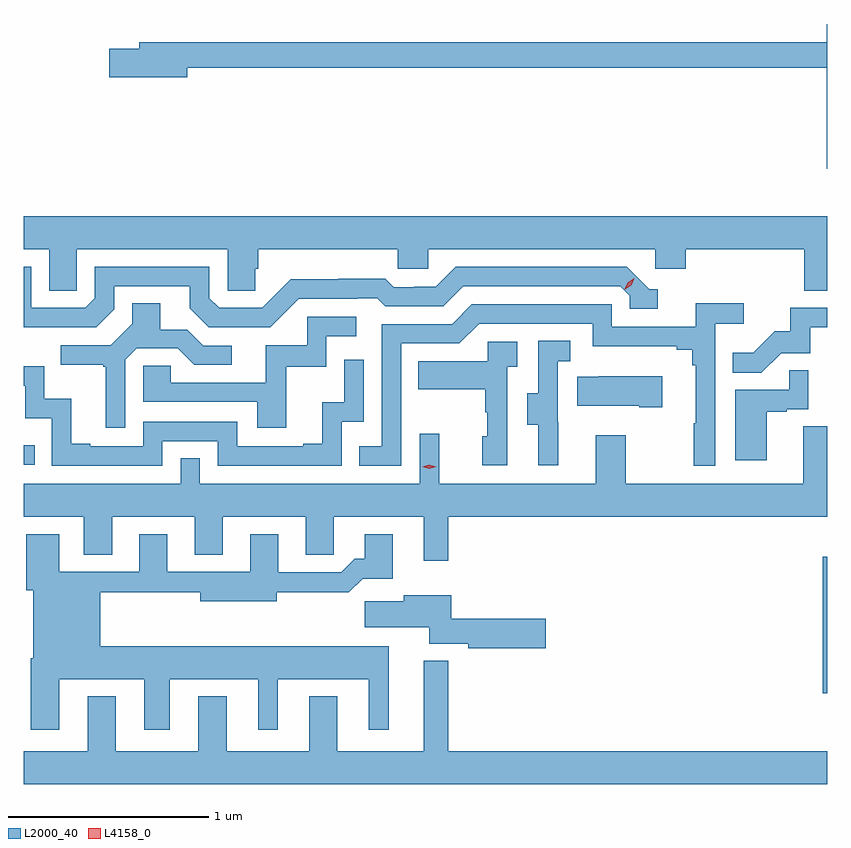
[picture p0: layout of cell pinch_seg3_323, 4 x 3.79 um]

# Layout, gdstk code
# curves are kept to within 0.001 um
import gdstk
lib = gdstk.Library(unit=1e-6, precision=1e-09)
def R(c, l, rs):  # rectangles x0, y0, x1, y1
    for r in rs: c.add(gdstk.rectangle(r[:2], r[2:], *l))
def P(c, l, *ps):  # polygons
    for p in ps: c.add(gdstk.Polygon(p, *l))
L2000_40 = (2000, 40)
L4158_0 = (4158, 0)

pinch_seg3_323 = lib.new_cell('pinch_seg3_323')
R(pinch_seg3_323, L2000_40, [(998.059,714.688,998.08,715.369), (994.08,715.827,994.133,715.924)])
P(pinch_seg3_323, L2000_40, [(998.08,718.021),(998.078,718.021),(998.078,717.931),(994.655,717.931),(994.655,717.897),(994.506,717.897),(994.506,717.755),(994.894,717.755),(994.894,717.802),(998.078,717.802),(998.078,717.3),(998.08,717.3)],
  [(994.344,716.9),(995.094,716.9),(995.094,716.692),(995.231,716.692),(995.231,716.802),(995.246,716.802),(995.246,716.9),(995.943,716.9),(995.943,716.802),(996.093,716.802),(996.093,716.9),(997.224,716.9),(997.224,716.802),(997.376,716.802),(997.376,716.9),(997.967,716.9),(997.967,716.692),(998.08,716.692),(998.08,717.064),(994.08,717.064),(994.08,716.9),(994.205,716.9),(994.205,716.692),(994.344,716.692)],
  [(994.224,716.511),(994.44,716.511),(994.53,716.601),(994.53,716.715),(994.907,716.715),(994.907,716.605),(995.001,716.511),(995.307,716.511),(995.448,716.652),(995.741,716.652),(995.741,716.655),(995.84,716.655),(995.879,716.616),(996.168,716.616),(996.267,716.715),(997.05,716.715),(997.098,716.667),(997.098,716.604),(997.237,716.604),(997.237,716.7),(997.194,716.7),(997.083,716.811),(996.23,716.811),(996.131,716.712),(996.024,716.712),(996.024,716.709),(995.921,716.709),(995.879,716.752),(995.646,716.752),(995.646,716.749),(995.41,716.749),(995.268,716.607),(995.052,716.607),(995.004,716.655),(995.004,716.811),(994.434,716.811),(994.434,716.655),(994.386,716.607),(994.116,716.607),(994.116,716.811),(994.08,716.811),(994.08,716.51)],
  [(994.584,716.349),(994.641,716.406),(994.847,716.406),(994.928,716.325),(995.116,716.325),(995.116,716.418),(994.974,716.418),(994.894,716.498),(994.759,716.498),(994.759,716.63),(994.619,716.63),(994.619,716.528),(994.512,716.421),(994.263,716.421),(994.263,716.324),(994.476,716.324),(994.476,716.313),(994.487,716.313),(994.487,716.01),(994.584,716.01)],
  [(995.958,716.43),(996.249,716.43),(996.348,716.529),(996.912,716.529),(996.912,716.417),(997.331,716.417),(997.331,716.398),(997.408,716.398),(997.408,716.321),(997.427,716.321),(997.427,716.033),(997.416,716.033),(997.416,715.821),(997.524,715.821),(997.524,716.528),(997.666,716.528),(997.666,716.63),(997.427,716.63),(997.427,716.514),(997.008,716.514),(997.008,716.625),(996.311,716.625),(996.212,716.526),(995.862,716.526),(995.862,715.917),(995.749,715.917),(995.749,715.821),(995.958,715.821)],
  [(997.851,716.382),(997.995,716.382),(997.995,716.511),(998.08,716.511),(998.08,716.607),(997.897,716.607),(997.897,716.49),(997.82,716.49),(997.713,716.383),(997.609,716.383),(997.609,716.284),(997.753,716.284)],
  [(995.387,716.313),(995.586,716.313),(995.586,716.466),(995.734,716.466),(995.734,716.562),(995.49,716.562),(995.49,716.421),(995.285,716.421),(995.285,716.235),(994.811,716.235),(994.811,716.319),(994.674,716.319),(994.674,716.139),(995.243,716.139),(995.243,716.01),(995.387,716.01)],
  [(996.74,716.037),(996.738,716.037),(996.738,716.341),(996.802,716.341),(996.802,716.444),(996.642,716.444),(996.642,716.181),(996.587,716.181),(996.587,716.026),(996.641,716.026),(996.641,715.824),(996.74,715.824)],
  [(996.486,716.315),(996.538,716.315),(996.538,716.439),(996.39,716.439),(996.39,716.341),(996.043,716.341),(996.043,716.201),(996.378,716.201),(996.378,716.087),(996.388,716.087),(996.388,715.968),(996.362,715.968),(996.362,715.824),(996.486,715.824)],
  [(994.77,715.944),(995.046,715.944),(995.046,715.821),(995.664,715.821),(995.664,716.04),(995.772,716.04),(995.772,716.35),(995.676,716.35),(995.676,716.138),(995.567,716.138),(995.567,715.93),(995.471,715.93),(995.471,715.917),(995.142,715.917),(995.142,716.04),(994.674,716.04),(994.674,715.917),(994.411,715.917),(994.411,715.93),(994.315,715.93),(994.315,716.155),(994.182,716.155),(994.182,716.316),(994.08,716.316),(994.08,716.22),(994.086,716.22),(994.086,716.057),(994.218,716.057),(994.218,715.821),(994.77,715.821)],
  [(997.78,716.091),(997.88,716.091),(997.88,716.103),(997.986,716.103),(997.986,716.297),(997.891,716.297),(997.891,716.199),(997.622,716.199),(997.622,715.848),(997.78,715.848)],
  [(997.258,716.266),(996.943,716.266),(996.943,716.263),(996.835,716.263),(996.835,716.12),(997.145,716.12),(997.145,716.113),(997.258,716.113)],
  [(996.193,715.568),(998.08,715.568),(998.08,716.018),(997.961,716.018),(997.961,715.732),(997.077,715.732),(997.077,715.972),(996.929,715.972),(996.929,715.732),(996.149,715.732),(996.149,715.981),(996.051,715.981),(996.051,715.732),(994.956,715.732),(994.956,715.859),(994.86,715.859),(994.86,715.732),(994.08,715.732),(994.08,715.568),(994.379,715.568),(994.379,715.378),(994.519,715.378),(994.519,715.568),(994.931,715.568),(994.931,715.378),(995.071,715.378),(995.071,715.568),(995.483,715.568),(995.483,715.378),(995.622,715.378),(995.622,715.568),(996.071,715.568),(996.071,715.347),(996.193,715.347)],
  [(994.255,714.758),(994.679,714.758),(994.679,714.507),(994.807,714.507),(994.807,714.758),(995.246,714.758),(995.246,714.507),(995.344,714.507),(995.344,714.758),(995.798,714.758),(995.798,714.507),(995.896,714.507),(995.896,714.922),(994.459,714.922),(994.459,715.192),(994.958,715.192),(994.958,715.145),(995.338,715.145),(995.338,715.19),(995.699,715.19),(995.768,715.259),(995.917,715.259),(995.917,715.48),(995.777,715.48),(995.777,715.357),(995.728,715.357),(995.661,715.29),(995.347,715.29),(995.347,715.48),(995.207,715.48),(995.207,715.293),(994.795,715.293),(994.795,715.48),(994.655,715.48),(994.655,715.293),(994.255,715.293),(994.255,715.48),(994.091,715.48),(994.091,715.2),(994.127,715.2),(994.127,714.862),(994.115,714.862),(994.115,714.507),(994.255,714.507)],
  [(996.679,715.058),(996.208,715.058),(996.208,715.177),(995.972,715.177),(995.972,715.145),(995.778,715.145),(995.778,715.016),(996.098,715.016),(996.098,714.935),(996.294,714.935),(996.294,714.911),(996.679,714.911)],
  [(998.08,714.4),(996.193,714.4),(996.193,714.85),(996.071,714.85),(996.071,714.4),(995.641,714.4),(995.641,714.673),(995.501,714.673),(995.501,714.4),(995.089,714.4),(995.089,714.673),(994.949,714.673),(994.949,714.4),(994.537,714.4),(994.537,714.673),(994.397,714.673),(994.397,714.4),(994.08,714.4),(994.08,714.236),(998.08,714.236)])
P(pinch_seg3_323, L4158_0, [(997.073,716.701),(997.073,716.702),(997.089,716.734),(997.12,716.754),(997.12,716.754),(997.12,716.754),(997.104,716.721),(997.074,716.701)],
  [(996.098,715.805),(996.063,715.815),(996.063,715.815),(996.063,715.816),(996.098,715.825),(996.133,715.816),(996.133,715.815),(996.133,715.815)])

lib.write_gds('pinch_seg3_323.gds')
